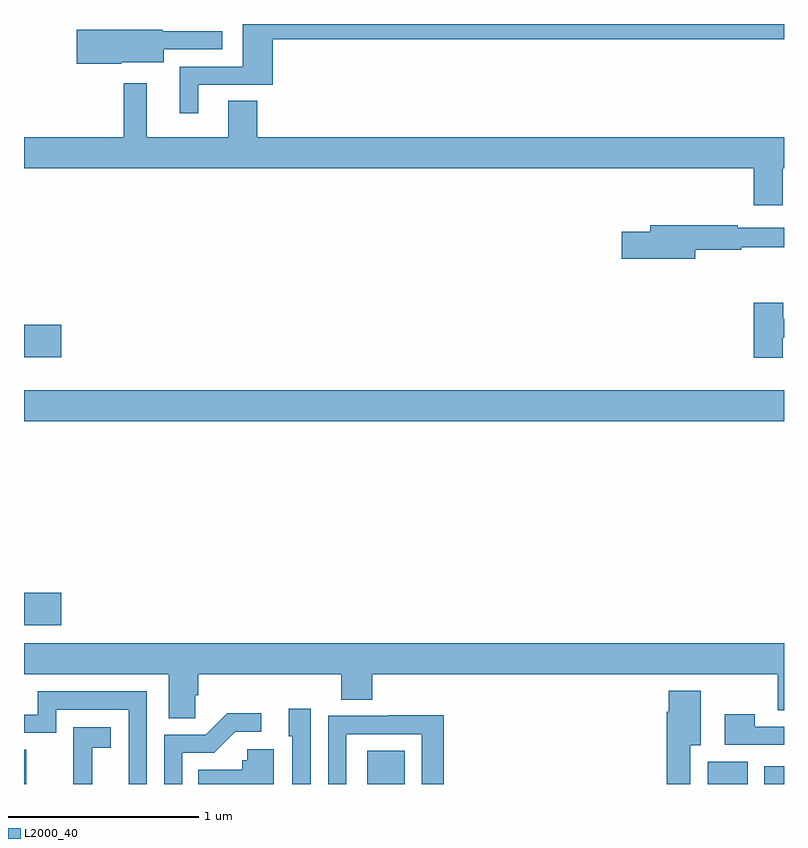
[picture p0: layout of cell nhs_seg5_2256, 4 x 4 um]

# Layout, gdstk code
import gdstk
lib = gdstk.Library(unit=1e-6, precision=1e-09)
def R(c, l, rs):  # rectangles x0, y0, x1, y1
    for r in rs: c.add(gdstk.rectangle(r[:2], r[2:], *l))
def P(c, l, *ps):  # polygons
    for p in ps: c.add(gdstk.Polygon(p, *l))
L2000_40 = (2000, 40)

nhs_seg5_2256 = lib.new_cell('nhs_seg5_2256')
R(nhs_seg5_2256, L2000_40, [(241,906.799,241.011,906.978), (242.807,906.799,243.004,906.973), (244.598,906.799,244.81,906.916), (244.895,906.799,245,906.892), (241,907.634,241.195,907.805), (241,908.708,245,908.872), (241,909.044,241.195,909.215)])
P(nhs_seg5_2256, L2000_40, [(241.918,910.479),(242.309,910.479),(242.309,910.72),(245,910.72),(245,910.799),(242.15,910.799),(242.15,910.575),(241.82,910.575),(241.82,910.329),(241.918,910.329)],
  [(241.512,910.598),(241.735,910.598),(241.735,910.665),(242.044,910.665),(242.044,910.761),(241.731,910.761),(241.731,910.769),(241.278,910.769),(241.278,910.591),(241.512,910.591)],
  [(244.993,910.04),(245,910.04),(245,910.204),(242.228,910.204),(242.228,910.394),(242.075,910.394),(242.075,910.204),(241.645,910.204),(241.645,910.486),(241.524,910.486),(241.524,910.204),(241,910.204),(241,910.04),(244.841,910.04),(244.841,909.846),(244.993,909.846)],
  [(244.534,909.61),(244.776,909.61),(244.776,909.625),(245,909.625),(245,909.726),(244.757,909.726),(244.757,909.739),(244.295,909.739),(244.295,909.705),(244.146,909.705),(244.146,909.563),(244.534,909.563)],
  [(244.993,909.147),(245,909.147),(245,909.247),(244.996,909.247),(244.996,909.331),(244.841,909.331),(244.841,909.042),(244.993,909.042)],
  [(241.902,907.267),(241.916,907.267),(241.916,907.376),(242.669,907.376),(242.669,907.243),(242.834,907.243),(242.834,907.376),(244.966,907.376),(244.966,907.186),(245,907.186),(245,907.54),(241,907.54),(241,907.376),(241.763,907.376),(241.763,907.144),(241.902,907.144)],
  [(244.507,907.004),(244.561,907.004),(244.561,907.291),(244.394,907.291),(244.394,907.178),(244.382,907.178),(244.382,906.799),(244.507,906.799)],
  [(241.647,907.287),(241.073,907.287),(241.073,907.164),(241,907.164),(241,907.068),(241.17,907.068),(241.17,907.191),(241.551,907.191),(241.551,906.799),(241.647,906.799)],
  [(242.508,907.195),(242.393,907.195),(242.393,907.05),(242.412,907.05),(242.412,906.799),(242.508,906.799)],
  [(241.833,906.963),(242.002,906.963),(242.113,907.074),(242.248,907.074),(242.248,907.172),(242.069,907.172),(241.956,907.059),(241.737,907.059),(241.737,906.799),(241.833,906.799)],
  [(245,907.101),(244.845,907.101),(244.845,907.165),(244.689,907.165),(244.689,907.005),(245,907.005)],
  [(242.697,907.062),(243.093,907.062),(243.093,906.799),(243.209,906.799),(243.209,907.16),(242.917,907.16),(242.917,907.158),(242.601,907.158),(242.601,906.799),(242.697,906.799)],
  [(241.358,906.989),(241.456,906.989),(241.456,907.099),(241.258,907.099),(241.258,906.893),(241.259,906.893),(241.259,906.799),(241.358,906.799)],
  [(242.314,906.982),(242.175,906.982),(242.175,906.924),(242.149,906.924),(242.149,906.874),(241.918,906.874),(241.918,906.799),(242.314,906.799)])

lib.write_gds('nhs_seg5_2256.gds')
